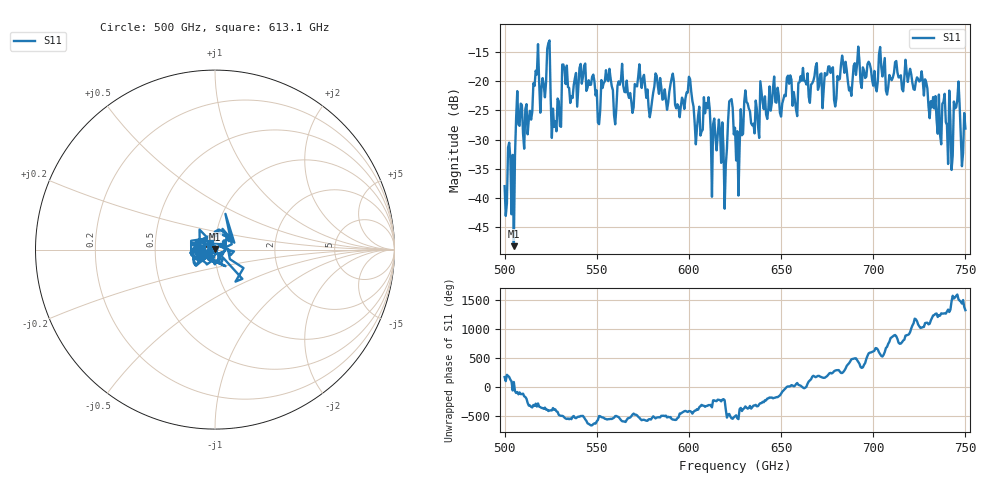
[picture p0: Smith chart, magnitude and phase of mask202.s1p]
!Created with skrf (http://scikit-rf.org).
# GHz S MA R 50.0
!freq magS11 angS11
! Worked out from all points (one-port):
!   401 points, 500 GHz to 750 GHz, reference 50 ohm
!   lowest |S11| = -48.2 dB at 505 GHz (marker M1), VSWR 1.01, Z = 50 + j0.385 ohm
!   |S11| at or under -10 dB: start of sweep to end of sweep
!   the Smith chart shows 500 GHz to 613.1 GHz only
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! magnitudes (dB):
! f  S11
! 500 GHz  -38.0
! 505 GHz  -48.2
! 507.5 GHz  -27.4
! 513.8 GHz  -25.1
! 516.9 GHz  -18.2
! 520.6 GHz  -19.5
! 523.8 GHz  -13.5
! 526.9 GHz  -27.8
! 531.2 GHz  -17.2
! 542.5 GHz  -19.3
! 550.6 GHz  -27.1
! 562.5 GHz  -20.6
! 590.6 GHz  -19.5
! 593.8 GHz  -23.9
! 609.4 GHz  -23.7
! 618.8 GHz  -31.4
! 622.5 GHz  -23.3
! 625 GHz  -28.0
! 656.2 GHz  -24.2
! 676.9 GHz  -18.6
! 680 GHz  -23.0
! 683.8 GHz  -16.9
! 687.5 GHz  -21.1
! 691.2 GHz  -17.1
! 718.8 GHz  -20.1
! 741.9 GHz  -26.8
! 745 GHz  -24.5
! 750 GHz  -28.1
